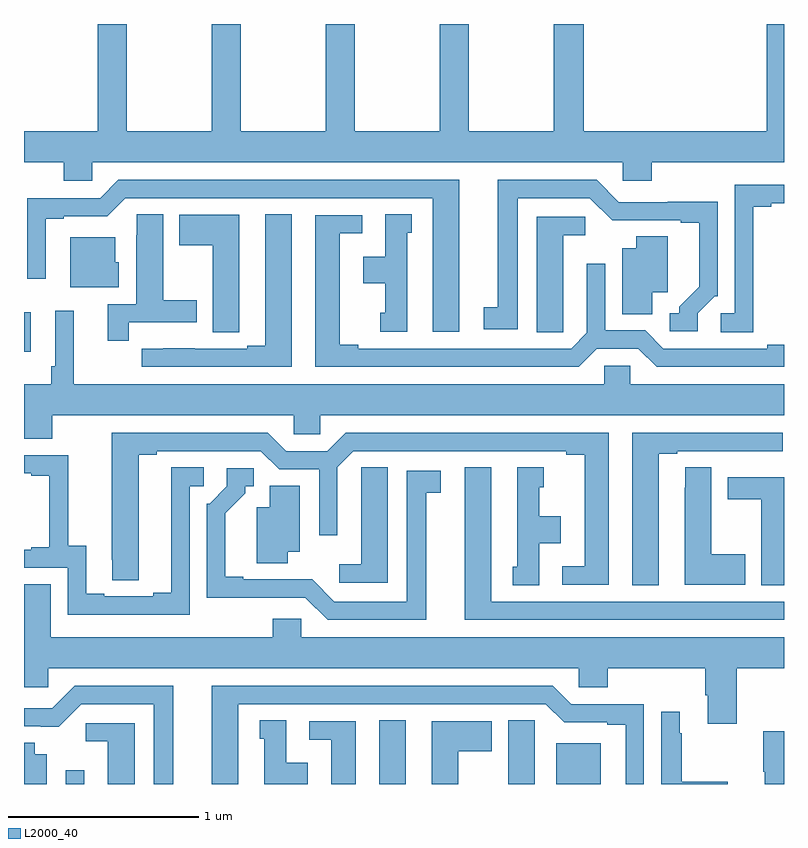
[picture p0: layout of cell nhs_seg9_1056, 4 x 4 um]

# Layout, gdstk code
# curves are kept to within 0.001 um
import gdstk
lib = gdstk.Library(unit=1e-6, precision=1e-09)
def R(c, l, rs):  # rectangles x0, y0, x1, y1
    for r in rs: c.add(gdstk.rectangle(r[:2], r[2:], *l))
def P(c, l, *ps):  # polygons
    for p in ps: c.add(gdstk.Polygon(p, *l))
L2000_40 = (2000, 40)

nhs_seg9_1056 = lib.new_cell('nhs_seg9_1056')
R(nhs_seg9_1056, L2000_40, [(169.221,1174.5,169.317,1174.573), (170.87,1174.5,171.01,1174.835), (171.8,1174.5,172.036,1174.714), (169,1176.776,169.036,1176.982)])
P(nhs_seg9_1056, L2000_40, [(169.359,1177.772),(172.152,1177.772),(172.152,1177.674),(172.304,1177.674),(172.304,1177.772),(173,1177.772),(173,1178.5),(172.91,1178.5),(172.91,1177.936),(171.947,1177.936),(171.947,1178.5),(171.787,1178.5),(171.787,1177.936),(171.342,1177.936),(171.342,1178.5),(171.187,1178.5),(171.187,1177.936),(170.742,1177.936),(170.742,1178.5),(170.587,1178.5),(170.587,1177.936),(170.142,1177.936),(170.142,1178.5),(169.987,1178.5),(169.987,1177.936),(169.542,1177.936),(169.542,1178.5),(169.387,1178.5),(169.387,1177.936),(169,1177.936),(169,1177.772),(169.208,1177.772),(169.208,1177.674),(169.359,1177.674)],
  [(172.545,1176.978),(172.635,1177.068),(172.65,1177.068),(172.65,1177.565),(172.387,1177.565),(172.387,1177.563),(172.131,1177.563),(172.014,1177.68),(171.494,1177.68),(171.494,1177.01),(171.42,1177.01),(171.42,1176.894),(171.598,1176.894),(171.598,1177.584),(171.978,1177.584),(172.096,1177.466),(172.457,1177.467),(172.457,1177.455),(172.553,1177.455),(172.553,1177.118),(172.448,1177.013),(172.448,1176.978),(172.398,1176.978),(172.398,1176.882),(172.545,1176.882)],
  [(171.292,1177.68),(169.497,1177.68),(169.401,1177.584),(169.017,1177.584),(169.017,1177.158),(169.114,1177.158),(169.114,1177.476),(169.21,1177.476),(169.21,1177.488),(169.437,1177.488),(169.533,1177.584),(171.152,1177.584),(171.152,1176.879),(171.292,1176.879)],
  [(172.837,1177.537),(172.933,1177.537),(172.933,1177.557),(173,1177.557),(173,1177.653),(172.74,1177.653),(172.74,1176.978),(172.668,1176.978),(172.668,1176.877),(172.837,1176.877)],
  [(169.55,1176.93),(169.909,1176.93),(169.909,1177.047),(169.732,1177.047),(169.732,1177.499),(169.593,1177.499),(169.593,1177.388),(169.592,1177.388),(169.592,1177.026),(169.442,1177.026),(169.442,1176.834),(169.55,1176.834)],
  [(171.016,1177.401),(171.04,1177.401),(171.04,1177.499),(170.9,1177.499),(170.9,1177.276),(170.786,1177.276),(170.786,1177.136),(170.9,1177.136),(170.9,1176.981),(170.876,1176.981),(170.876,1176.879),(171.016,1176.879)],
  [(170.41,1177.499),(170.27,1177.499),(170.27,1176.807),(170.174,1176.807),(170.174,1176.792),(169.898,1176.792),(169.898,1176.793),(169.732,1176.793),(169.732,1176.792),(169.62,1176.792),(169.62,1176.696),(170.41,1176.696)],
  [(170.133,1176.985),(170.134,1176.985),(170.134,1177.495),(169.817,1177.495),(169.817,1177.336),(169.994,1177.336),(169.994,1176.877),(170.133,1176.877)],
  [(172.015,1176.792),(172.233,1176.792),(172.329,1176.696),(173,1176.696),(173,1176.812),(172.913,1176.812),(172.913,1176.792),(172.365,1176.792),(172.269,1176.888),(172.059,1176.888),(172.059,1177.237),(171.963,1177.237),(171.963,1176.876),(171.879,1176.792),(170.758,1176.792),(170.758,1176.812),(170.662,1176.812),(170.662,1177.398),(170.779,1177.398),(170.779,1177.494),(170.534,1177.494),(170.534,1176.696),(171.919,1176.696)],
  [(171.837,1176.985),(171.838,1176.985),(171.838,1177.388),(171.955,1177.388),(171.955,1177.485),(171.698,1177.485),(171.698,1176.877),(171.837,1176.877)],
  [(172.306,1177.088),(172.387,1177.088),(172.387,1177.382),(172.223,1177.382),(172.223,1177.321),(172.148,1177.321),(172.148,1176.973),(172.306,1176.973)],
  [(169.498,1177.245),(169.48,1177.245),(169.48,1177.378),(169.244,1177.378),(169.244,1177.115),(169.498,1177.115)],
  [(169.149,1176.44),(170.421,1176.44),(170.421,1176.342),(170.559,1176.342),(170.559,1176.44),(173,1176.44),(173,1176.604),(172.191,1176.604),(172.191,1176.702),(172.053,1176.702),(172.053,1176.604),(169.262,1176.604),(169.262,1176.991),(169.164,1176.991),(169.164,1176.7),(169.144,1176.7),(169.144,1176.604),(169,1176.604),(169,1176.316),(169.149,1176.316)],
  [(172.342,1176.237),(172.438,1176.237),(172.438,1176.252),(172.714,1176.252),(172.714,1176.251),(172.88,1176.251),(172.88,1176.252),(172.993,1176.252),(172.993,1176.348),(172.202,1176.348),(172.202,1175.545),(172.342,1175.545)],
  [(172.078,1176.348),(170.693,1176.348),(170.597,1176.252),(170.379,1176.252),(170.283,1176.348),(169.463,1176.348),(169.464,1175.572),(169.603,1175.572),(169.603,1176.232),(169.699,1176.232),(169.699,1176.252),(170.247,1176.252),(170.343,1176.156),(170.553,1176.156),(170.553,1175.808),(170.649,1175.808),(170.649,1176.168),(170.733,1176.252),(171.854,1176.252),(171.854,1176.232),(171.95,1176.232),(171.95,1175.646),(171.834,1175.646),(171.834,1175.55),(172.078,1175.55)],
  [(169.872,1176.066),(169.945,1176.066),(169.945,1176.167),(169.775,1176.167),(169.775,1175.507),(169.679,1175.507),(169.679,1175.487),(169.423,1175.487),(169.423,1175.502),(169.327,1175.502),(169.327,1175.753),(169.233,1175.753),(169.233,1176.231),(169,1176.231),(169,1176.135),(169.037,1176.135),(169.037,1176.123),(169.133,1176.123),(169.133,1175.746),(169.037,1175.746),(169.037,1175.733),(169,1175.733),(169,1175.637),(169.23,1175.637),(169.23,1175.391),(169.872,1175.391)],
  [(172.795,1175.709),(172.618,1175.709),(172.618,1176.167),(172.479,1176.167),(172.479,1176.059),(172.478,1176.059),(172.478,1175.549),(172.795,1175.549)],
  [(170.914,1176.167),(170.775,1176.167),(170.775,1176.059),(170.774,1176.059),(170.774,1175.656),(170.658,1175.656),(170.658,1175.559),(170.914,1175.559)],
  [(171.712,1175.768),(171.826,1175.768),(171.826,1175.908),(171.712,1175.908),(171.712,1176.063),(171.736,1176.063),(171.736,1176.166),(171.596,1176.166),(171.596,1175.643),(171.572,1175.643),(171.572,1175.545),(171.712,1175.545)],
  [(173,1175.46),(171.46,1175.46),(171.46,1176.166),(171.32,1176.166),(171.32,1175.364),(173,1175.364)],
  [(171.118,1176.034),(171.193,1176.034),(171.193,1176.15),(171.014,1176.15),(171.014,1175.46),(170.634,1175.46),(170.516,1175.578),(170.155,1175.577),(170.155,1175.59),(170.059,1175.59),(170.059,1175.926),(170.164,1176.031),(170.164,1176.066),(170.209,1176.066),(170.209,1176.162),(170.067,1176.162),(170.067,1176.066),(169.977,1175.976),(169.962,1175.976),(169.962,1175.48),(170.481,1175.481),(170.598,1175.364),(171.118,1175.364)],
  [(173,1176.114),(172.703,1176.114),(172.703,1175.998),(172.88,1175.998),(172.88,1175.545),(173,1175.545)],
  [(170.389,1175.723),(170.452,1175.723),(170.452,1176.071),(170.294,1176.071),(170.294,1175.956),(170.225,1175.956),(170.225,1175.662),(170.389,1175.662)],
  [(172.751,1175.108),(173,1175.108),(173,1175.272),(170.46,1175.272),(170.46,1175.37),(170.309,1175.37),(170.309,1175.272),(169.141,1175.272),(169.141,1175.552),(169,1175.552),(169,1175.01),(169.128,1175.01),(169.128,1175.108),(171.921,1175.108),(171.921,1175.01),(172.073,1175.01),(172.073,1175.108),(172.586,1175.108),(172.586,1174.966),(172.598,1174.966),(172.598,1174.818),(172.751,1174.818)],
  [(169.786,1175.016),(169.266,1175.016),(169.149,1174.899),(169,1174.899),(169,1174.803),(169.088,1174.803),(169.088,1174.802),(169.184,1174.802),(169.302,1174.92),(169.682,1174.92),(169.682,1174.5),(169.786,1174.5)],
  [(170.128,1174.92),(171.747,1174.92),(171.843,1174.824),(172.07,1174.824),(172.07,1174.812),(172.166,1174.812),(172.166,1174.5),(172.263,1174.5),(172.263,1174.92),(171.879,1174.92),(171.783,1175.016),(169.988,1175.016),(169.988,1174.5),(170.128,1174.5)],
  [(172.705,1174.511),(172.462,1174.511),(172.462,1174.766),(172.45,1174.766),(172.45,1174.879),(172.353,1174.879),(172.353,1174.5),(172.705,1174.5)],
  [(171.688,1174.724),(171.687,1174.724),(171.687,1174.835),(171.548,1174.835),(171.548,1174.5),(171.688,1174.5)],
  [(170.494,1174.612),(170.38,1174.612),(170.38,1174.835),(170.24,1174.835),(170.24,1174.737),(170.264,1174.737),(170.264,1174.5),(170.494,1174.5)],
  [(171.286,1174.672),(171.463,1174.672),(171.463,1174.831),(171.146,1174.831),(171.146,1174.5),(171.286,1174.5)],
  [(170.746,1174.83),(170.502,1174.83),(170.502,1174.734),(170.618,1174.734),(170.618,1174.5),(170.746,1174.5)],
  [(169.582,1174.821),(169.326,1174.821),(169.326,1174.724),(169.442,1174.724),(169.442,1174.5),(169.582,1174.5)],
  [(173,1174.777),(172.891,1174.777),(172.891,1174.564),(172.898,1174.564),(172.898,1174.5),(173,1174.5)],
  [(169.12,1174.657),(169.057,1174.657),(169.057,1174.718),(169,1174.718),(169,1174.5),(169.12,1174.5)])

lib.write_gds('nhs_seg9_1056.gds')
